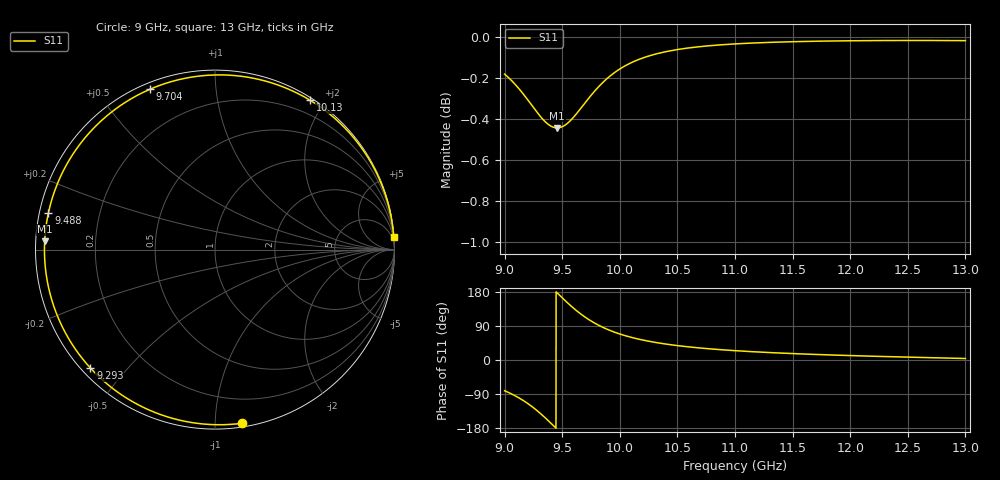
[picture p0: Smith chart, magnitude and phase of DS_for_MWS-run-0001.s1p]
! TOUCHSTONE file generated by CST DESIGN STUDIO
! Date and time: Wed Feb  5 13:18:09 2025
! Project name: C:\Work\MatlabApps\UnitCellOptimizationMatlab\CST\unitcell.cst
! Tree item: Tasks\Sweep1\SPara1\S-Parameters
! Header version: 2024
! Port assignment regex: !\s*Touchstone port\s*([0-9]+)\s*=\s*(CST MWS port|CST DES external port|CST DES block port)\s*(.+)\s* \(\"(.*)\"\)(\s*mode\s*([0-9]+))?.*
! Touchstone port assignment:
! Touchstone port 1 = CST DES external port 1 ("")
# GHz S MA R 50
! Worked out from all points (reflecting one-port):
!   4001 points, 9 GHz to 13 GHz, reference 50 ohm
!   lowest |S11| = -0.4 dB at 9.456 GHz (marker M1), VSWR 39.18, Z = 1.28 + j1.23 ohm
!   phase of S11 starts at -81 deg and turns -275 deg over the sweep
!   S11 on the Smith chart (normalised r, x): 9 GHz: 0.02, -1.17; 9.293 GHz: 0.03, -0.40; 9.488 GHz: 0.03, +0.11; 9.704 GHz: 0.03, +0.67; 10.13 GHz: 0.03, +1.82; 13 GHz: 1, +29
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9  0.9792 -81.2
9.091  0.9737 -94.3
9.164  0.9683 -107.3
9.23  0.9628 -121.2
9.293  0.9576 -136.5
9.335  0.9546 -147.6
9.38  0.952 -160.4
9.419  0.9507 -171.8
9.456  0.9502 177.2
9.488  0.9505 167.7
9.5  0.9508 164.1
9.548  0.9528 150.4
9.604  0.9563 135.3
9.653  0.96 123.3
9.704  0.9641 112.1
9.761  0.9685 101.0
9.826  0.973 90.2
9.911  0.978 78.5
10  0.9821 68.6
10.129  0.9864 57.5
10.296  0.99 47.0
10.5  0.9928 38.0
10.723  0.9946 30.9
11  0.9959 24.6
11.5  0.9972 16.9
12  0.9977 11.7
12.5  0.9979 7.6
13  0.9978 4.0
